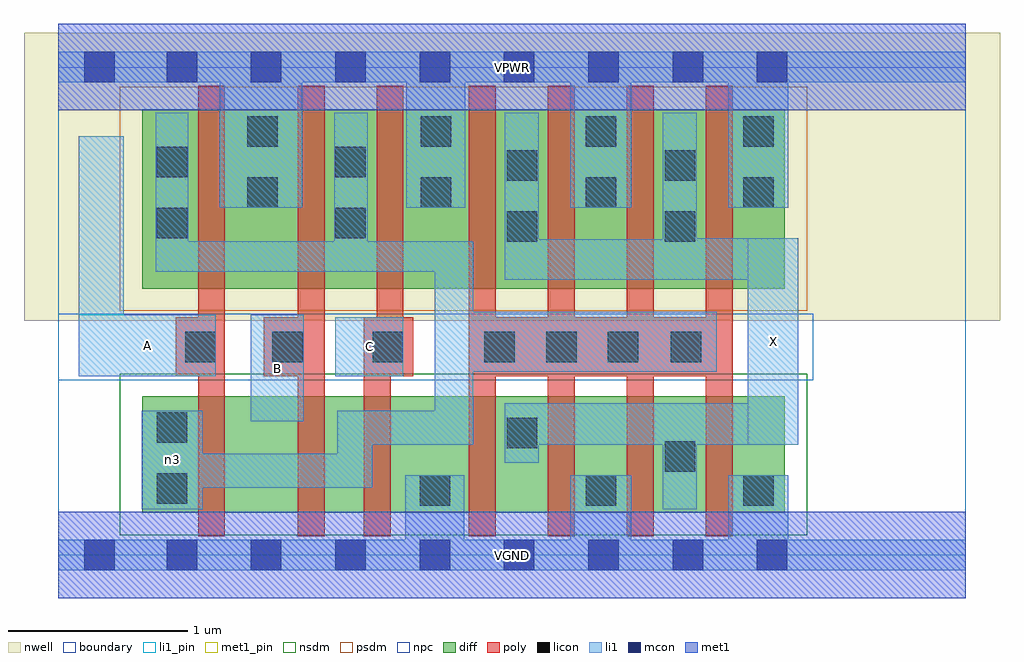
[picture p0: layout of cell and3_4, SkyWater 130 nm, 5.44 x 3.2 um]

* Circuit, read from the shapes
.subckt and3_4 A B C VGND VPWR X n3
XM1 n1 A n3 VSUBS sky130_fd_pr__nfet_01v8 w=0.65 l=0.15
XM2 n2 B n1 VSUBS sky130_fd_pr__nfet_01v8 w=0.65 l=0.15
XM3 VGND C n2 VSUBS sky130_fd_pr__nfet_01v8 w=0.65 l=0.15
XM4 X n3 VGND VSUBS sky130_fd_pr__nfet_01v8 w=0.65 l=0.15 m=4
XM5 VPWR A n3 n4 sky130_fd_pr__pfet_01v8 w=1 l=0.15
XM6 n3 B VPWR n4 sky130_fd_pr__pfet_01v8 w=1 l=0.15
XM7 VPWR C n3 n4 sky130_fd_pr__pfet_01v8 w=1 l=0.15
XM8 X n3 VPWR n4 sky130_fd_pr__pfet_01v8 w=1 l=0.15 m=4
.ends

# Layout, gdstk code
import gdstk
lib = gdstk.Library(unit=1e-6, precision=1e-09)
def R(c, l, rs):  # rectangles x0, y0, x1, y1
    for r in rs: c.add(gdstk.rectangle(r[:2], r[2:], *l))
def A(c, l, x, y, w, h, nx, ny, dx, dy):  # array of equal rectangles
    R(c, l, [(x+i*dx, y+j*dy, x+i*dx+w, y+j*dy+h) for i in range(nx) for j in range(ny)])
nwell = (64, 20)
diff = (65, 20)
poly = (66, 20)
licon = (66, 44)
li1_pin = (67, 16)
li1 = (67, 20)
mcon = (67, 44)
met1_pin = (68, 16)
met1 = (68, 20)
nsdm = (93, 44)
psdm = (94, 20)
npc = (95, 20)
boundary = (235, 4)

and3_4 = lib.new_cell('and3_4')
R(and3_4, nwell, [(-0.19,1.305,5.25,2.91), (0,1.305,5.06,2.91)])
R(and3_4, diff, [(0.47,0.235,4.05,0.885), (0.47,1.485,4.05,2.485)])
A(and3_4, poly, 2.29, 0.105, 0.15, 2.51, 4, 1, 0.44, 0)
R(and3_4, poly, [(0.78,0.105,0.93,2.615), (1.335,0.105,1.485,2.615), (1.705,0.105,1.855,1.325), (0.655,0.995,0.93,1.325), (1.145,0.995,1.485,1.325), (1.705,0.995,1.98,1.325), (1.775,0.995,1.925,2.615), (2.29,0.995,3.76,1.325)])
A(and3_4, licon, 2.375, 1.075, 0.17, 0.17, 3, 1, 0.345, 0)
R(and3_4, licon, [(2.015,0.275,2.185,0.445), (2.94,0.275,3.11,0.445), (3.82,0.275,3.99,0.445), (0.55,0.285,0.72,0.455), (3.38,0.465,3.55,0.635), (2.5,0.595,2.67,0.765), (0.55,0.625,0.72,0.795), (0.71,1.075,0.88,1.245), (1.195,1.075,1.365,1.245), (1.755,1.075,1.925,1.245), (3.415,1.075,3.585,1.245), (2.5,1.745,2.67,1.915), (3.38,1.745,3.55,1.915), (0.55,1.765,0.72,1.935), (1.545,1.765,1.715,1.935), (1.055,1.935,1.225,2.105), (2.02,1.935,2.19,2.105), (2.94,1.935,3.11,2.105), (3.82,1.935,3.99,2.105), (2.5,2.085,2.67,2.255), (3.38,2.085,3.55,2.255), (0.55,2.105,0.72,2.275), (1.545,2.105,1.715,2.275), (1.055,2.275,1.225,2.445), (2.02,2.275,2.19,2.445), (2.94,2.275,3.11,2.445), (3.82,2.275,3.99,2.445)])
R(and3_4, li1_pin, [(3.845,0.615,4.125,1.765), (1.075,0.745,1.37,1.34), (0.115,0.995,0.88,1.34), (1.545,0.995,1.925,1.325)])
R(and3_4, li1, [(0,-0.085,5.06,0.085), (1.935,-0.085,2.265,0.445), (2.855,-0.085,3.195,0.445), (3.735,-0.085,4.07,0.445), (0.465,0.255,0.805,0.805), (3.37,0.255,3.56,0.845), (0.465,0.375,1.75,0.565), (1.555,0.375,1.75,0.805), (2.49,0.515,2.68,0.845), (1.555,0.615,2.315,0.805), (2.1,0.615,2.315,1.75), (2.49,0.615,4.125,0.845), (3.845,0.615,4.125,1.765), (1.075,0.745,1.37,1.34), (0.115,0.995,0.365,2.335), (0.115,0.995,0.88,1.34), (1.545,0.995,1.925,1.325), (2.1,1.02,3.67,1.355), (2.49,1.535,4.125,1.76), (2.49,1.535,2.68,2.465), (3.37,1.535,3.56,2.465), (3.37,1.535,4.125,1.765), (0.545,1.58,2.315,1.75), (0.545,1.58,0.725,2.465), (1.54,1.58,1.725,2.465), (0.9,1.935,1.36,2.805), (1.94,1.935,2.27,2.805), (2.855,1.935,3.195,2.805), (3.735,1.935,4.07,2.805), (0,2.635,5.06,2.805)])
A(and3_4, mcon, 0.605, -0.085, 0.17, 0.17, 8, 2, 0.47, 2.72)
R(and3_4, mcon, [(0.145,-0.085,0.315,0.085), (0.145,2.635,0.315,2.805)])
R(and3_4, met1_pin, [(0,-0.24,5.06,0.24), (0,2.48,5.06,2.96)])
R(and3_4, met1, [(0,-0.24,5.06,0.24), (0,2.48,5.06,2.96)])
R(and3_4, nsdm, [(0.345,0.11,4.175,1.01)])
R(and3_4, psdm, [(0.345,1.36,4.175,2.61)])
R(and3_4, npc, [(0,0.975,4.21,1.345)])
R(and3_4, boundary, [(0,0,5.06,2.72)])
and3_4.add(gdstk.Label('A', (0.497,1.167), layer=67, texttype=5))
and3_4.add(gdstk.Label('B', (1.222,1.042), layer=67, texttype=5))
and3_4.add(gdstk.Label('C', (1.735,1.16), layer=67, texttype=5))
and3_4.add(gdstk.Label('X', (3.985,1.19), layer=67, texttype=5))
and3_4.add(gdstk.Label('n3', (0.635,0.53), layer=67, texttype=5))
and3_4.add(gdstk.Label('VPWR', (2.53,2.72), layer=68, texttype=5))
and3_4.add(gdstk.Label('VGND', (2.53,0), layer=68, texttype=5))
and3_4.add(gdstk.Label('A', (0.497,1.167), layer=67, texttype=16))
and3_4.add(gdstk.Label('B', (1.222,1.042), layer=67, texttype=16))
and3_4.add(gdstk.Label('C', (1.735,1.16), layer=67, texttype=16))
and3_4.add(gdstk.Label('X', (3.985,1.19), layer=67, texttype=16))
and3_4.add(gdstk.Label('VPWR', (2.53,2.72), layer=68, texttype=16))
and3_4.add(gdstk.Label('VGND', (2.53,0), layer=68, texttype=16))

lib.write_gds('and3_4.gds')
